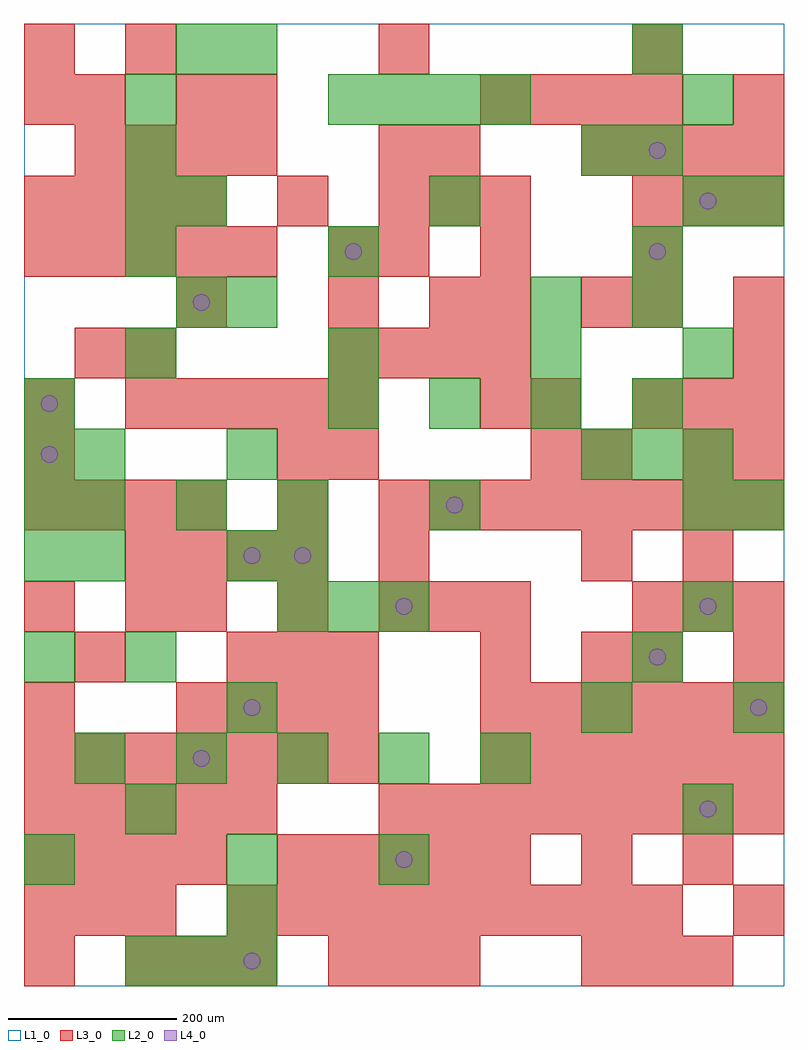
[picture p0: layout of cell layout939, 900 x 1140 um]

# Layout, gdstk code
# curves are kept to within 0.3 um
import gdstk
lib = gdstk.Library(unit=1e-6, precision=1e-09)
def R(c, l, rs):  # rectangles x0, y0, x1, y1
    for r in rs: c.add(gdstk.rectangle(r[:2], r[2:], *l))
def A(c, l, x, y, w, h, nx, ny, dx, dy):  # array of equal rectangles
    R(c, l, [(x+i*dx, y+j*dy, x+i*dx+w, y+j*dy+h) for i in range(nx) for j in range(ny)])
def P(c, l, *ps):  # polygons
    for p in ps: c.add(gdstk.Polygon(p, *l))
L1_0 = (1, 0)
L2_0 = (2, 0)
L3_0 = (3, 0)
L4_0 = (4, 0)

layout939 = lib.new_cell('layout939')
R(layout939, L1_0, [(0,0,900,1140)])
A(layout939, L2_0, 120, 0, 60, 60, 3, 1, 60, 0)
A(layout939, L2_0, 240, 120, 60, 60, 1, 3, 0, 180)
A(layout939, L2_0, 60, 240, 60, 60, 5, 1, 120, 0)
A(layout939, L2_0, 300, 420, 60, 60, 3, 1, 60, 0)
A(layout939, L2_0, 0, 480, 60, 60, 1, 4, 0, 60)
A(layout939, L2_0, 60, 540, 60, 60, 3, 1, 120, 0)
A(layout939, L2_0, 660, 600, 60, 60, 3, 1, 60, 0)
A(layout939, L2_0, 360, 660, 60, 60, 4, 1, 120, 0)
A(layout939, L2_0, 120, 720, 60, 60, 3, 1, 240, 0)
A(layout939, L2_0, 120, 840, 60, 60, 1, 4, 0, 60)
A(layout939, L2_0, 720, 840, 60, 60, 1, 3, 0, 120)
A(layout939, L2_0, 180, 900, 60, 60, 3, 1, 300, 0)
A(layout939, L2_0, 360, 1020, 60, 60, 4, 1, 60, 0)
R(layout939, L2_0, [(240,60,300,120), (0,120,60,180), (420,120,480,180), (120,180,180,240), (780,180,840,240), (660,300,720,360), (840,300,900,360), (0,360,60,420), (120,360,180,420), (720,360,780,420), (780,420,840,480), (60,480,120,540), (300,480,360,540), (480,540,540,600), (780,540,840,600), (840,540,900,600), (60,600,120,660), (240,600,300,660), (780,720,840,780), (180,780,240,840), (240,780,300,840), (600,780,660,840), (720,780,780,840), (360,840,420,900), (840,900,900,960), (660,960,720,1020), (780,1020,840,1080), (180,1080,240,1140), (240,1080,300,1140)])
A(layout939, L3_0, 120, 0, 60, 60, 3, 1, 60, 0)
A(layout939, L3_0, 360, 0, 60, 60, 3, 1, 60, 0)
A(layout939, L3_0, 660, 0, 60, 60, 3, 1, 60, 0)
A(layout939, L3_0, 0, 60, 60, 60, 3, 1, 60, 0)
A(layout939, L3_0, 240, 60, 60, 60, 9, 1, 60, 0)
A(layout939, L3_0, 0, 120, 60, 60, 4, 2, 60, 420)
A(layout939, L3_0, 300, 120, 60, 60, 5, 1, 60, 0)
A(layout939, L3_0, 0, 180, 60, 60, 5, 2, 60, 660)
A(layout939, L3_0, 420, 180, 60, 60, 8, 2, 60, 360)
A(layout939, L3_0, 0, 240, 60, 60, 7, 1, 60, 0)
A(layout939, L3_0, 540, 240, 60, 60, 6, 2, 60, 60)
A(layout939, L3_0, 180, 300, 60, 60, 4, 1, 60, 0)
A(layout939, L3_0, 240, 360, 60, 60, 3, 1, 60, 0)
A(layout939, L3_0, 660, 360, 60, 60, 1, 3, 0, 120)
A(layout939, L3_0, 180, 420, 60, 60, 3, 1, 120, 0)
A(layout939, L3_0, 720, 420, 60, 60, 3, 3, 60, 240)
A(layout939, L3_0, 120, 480, 60, 60, 4, 1, 60, 0)
A(layout939, L3_0, 120, 660, 60, 60, 5, 1, 60, 0)
A(layout939, L3_0, 360, 720, 60, 60, 4, 1, 60, 0)
A(layout939, L3_0, 0, 900, 60, 60, 4, 1, 60, 0)
A(layout939, L3_0, 420, 900, 60, 60, 3, 1, 60, 0)
A(layout939, L3_0, 60, 960, 60, 60, 4, 1, 60, 0)
A(layout939, L3_0, 660, 960, 60, 60, 4, 1, 60, 0)
A(layout939, L3_0, 540, 1020, 60, 60, 4, 1, 60, 0)
A(layout939, L3_0, 120, 1080, 60, 60, 3, 1, 300, 0)
R(layout939, L3_0, [(0,0,60,60), (840,60,900,120), (660,120,720,180), (780,120,840,180), (0,300,60,360), (60,360,120,420), (540,360,600,420), (720,360,780,420), (840,360,900,420), (0,420,60,480), (120,420,180,480), (480,420,540,480), (540,420,600,480), (420,480,480,540), (780,480,840,540), (300,540,360,600), (0,600,60,660), (300,600,360,660), (360,600,420,660), (600,600,660,660), (780,600,840,660), (840,600,900,660), (0,660,60,720), (540,660,600,720), (600,660,660,720), (60,720,120,780), (120,720,180,780), (840,720,900,780), (180,780,240,840), (360,780,420,840), (480,780,540,840), (540,780,600,840), (660,780,720,840), (720,780,780,840), (840,780,900,840), (360,840,420,900), (420,840,480,900), (540,840,600,900), (720,840,780,900), (300,900,360,960), (420,960,480,1020), (480,960,540,1020), (0,1020,60,1080), (60,1020,120,1080), (180,1020,240,1080), (240,1020,300,1080), (840,1020,900,1080), (0,1080,60,1140)])
P(layout939, L4_0, [(40,630),(39.239,633.827),(37.071,637.071),(33.827,639.239),(30,640),(26.173,639.239),(22.929,637.071),(20.761,633.827),(20,630),(20.761,626.173),(22.929,622.929),(26.173,620.761),(30,620),(33.827,620.761),(37.071,622.929),(39.239,626.173)],
  [(40,690),(39.239,693.827),(37.071,697.071),(33.827,699.239),(30,700),(26.173,699.239),(22.929,697.071),(20.761,693.827),(20,690),(20.761,686.173),(22.929,682.929),(26.173,680.761),(30,680),(33.827,680.761),(37.071,682.929),(39.239,686.173)],
  [(220,270),(219.239,273.827),(217.071,277.071),(213.827,279.239),(210,280),(206.173,279.239),(202.929,277.071),(200.761,273.827),(200,270),(200.761,266.173),(202.929,262.929),(206.173,260.761),(210,260),(213.827,260.761),(217.071,262.929),(219.239,266.173)],
  [(220,810),(219.239,813.827),(217.071,817.071),(213.827,819.239),(210,820),(206.173,819.239),(202.929,817.071),(200.761,813.827),(200,810),(200.761,806.173),(202.929,802.929),(206.173,800.761),(210,800),(213.827,800.761),(217.071,802.929),(219.239,806.173)],
  [(280,30),(279.239,33.827),(277.071,37.071),(273.827,39.239),(270,40),(266.173,39.239),(262.929,37.071),(260.761,33.827),(260,30),(260.761,26.173),(262.929,22.929),(266.173,20.761),(270,20),(273.827,20.761),(277.071,22.929),(279.239,26.173)],
  [(280,330),(279.239,333.827),(277.071,337.071),(273.827,339.239),(270,340),(266.173,339.239),(262.929,337.071),(260.761,333.827),(260,330),(260.761,326.173),(262.929,322.929),(266.173,320.761),(270,320),(273.827,320.761),(277.071,322.929),(279.239,326.173)],
  [(280,510),(279.239,513.827),(277.071,517.071),(273.827,519.239),(270,520),(266.173,519.239),(262.929,517.071),(260.761,513.827),(260,510),(260.761,506.173),(262.929,502.929),(266.173,500.761),(270,500),(273.827,500.761),(277.071,502.929),(279.239,506.173)],
  [(340,510),(339.239,513.827),(337.071,517.071),(333.827,519.239),(330,520),(326.173,519.239),(322.929,517.071),(320.761,513.827),(320,510),(320.761,506.173),(322.929,502.929),(326.173,500.761),(330,500),(333.827,500.761),(337.071,502.929),(339.239,506.173)],
  [(400,870),(399.239,873.827),(397.071,877.071),(393.827,879.239),(390,880),(386.173,879.239),(382.929,877.071),(380.761,873.827),(380,870),(380.761,866.173),(382.929,862.929),(386.173,860.761),(390,860),(393.827,860.761),(397.071,862.929),(399.239,866.173)],
  [(460,150),(459.239,153.827),(457.071,157.071),(453.827,159.239),(450,160),(446.173,159.239),(442.929,157.071),(440.761,153.827),(440,150),(440.761,146.173),(442.929,142.929),(446.173,140.761),(450,140),(453.827,140.761),(457.071,142.929),(459.239,146.173)],
  [(460,450),(459.239,453.827),(457.071,457.071),(453.827,459.239),(450,460),(446.173,459.239),(442.929,457.071),(440.761,453.827),(440,450),(440.761,446.173),(442.929,442.929),(446.173,440.761),(450,440),(453.827,440.761),(457.071,442.929),(459.239,446.173)],
  [(520,570),(519.239,573.827),(517.071,577.071),(513.827,579.239),(510,580),(506.173,579.239),(502.929,577.071),(500.761,573.827),(500,570),(500.761,566.173),(502.929,562.929),(506.173,560.761),(510,560),(513.827,560.761),(517.071,562.929),(519.239,566.173)],
  [(760,390),(759.239,393.827),(757.071,397.071),(753.827,399.239),(750,400),(746.173,399.239),(742.929,397.071),(740.761,393.827),(740,390),(740.761,386.173),(742.929,382.929),(746.173,380.761),(750,380),(753.827,380.761),(757.071,382.929),(759.239,386.173)],
  [(760,870),(759.239,873.827),(757.071,877.071),(753.827,879.239),(750,880),(746.173,879.239),(742.929,877.071),(740.761,873.827),(740,870),(740.761,866.173),(742.929,862.929),(746.173,860.761),(750,860),(753.827,860.761),(757.071,862.929),(759.239,866.173)],
  [(760,990),(759.239,993.827),(757.071,997.071),(753.827,999.239),(750,1000),(746.173,999.239),(742.929,997.071),(740.761,993.827),(740,990),(740.761,986.173),(742.929,982.929),(746.173,980.761),(750,980),(753.827,980.761),(757.071,982.929),(759.239,986.173)],
  [(820,210),(819.239,213.827),(817.071,217.071),(813.827,219.239),(810,220),(806.173,219.239),(802.929,217.071),(800.761,213.827),(800,210),(800.761,206.173),(802.929,202.929),(806.173,200.761),(810,200),(813.827,200.761),(817.071,202.929),(819.239,206.173)],
  [(820,450),(819.239,453.827),(817.071,457.071),(813.827,459.239),(810,460),(806.173,459.239),(802.929,457.071),(800.761,453.827),(800,450),(800.761,446.173),(802.929,442.929),(806.173,440.761),(810,440),(813.827,440.761),(817.071,442.929),(819.239,446.173)],
  [(820,930),(819.239,933.827),(817.071,937.071),(813.827,939.239),(810,940),(806.173,939.239),(802.929,937.071),(800.761,933.827),(800,930),(800.761,926.173),(802.929,922.929),(806.173,920.761),(810,920),(813.827,920.761),(817.071,922.929),(819.239,926.173)],
  [(880,330),(879.239,333.827),(877.071,337.071),(873.827,339.239),(870,340),(866.173,339.239),(862.929,337.071),(860.761,333.827),(860,330),(860.761,326.173),(862.929,322.929),(866.173,320.761),(870,320),(873.827,320.761),(877.071,322.929),(879.239,326.173)])

lib.write_gds('layout939.gds')
